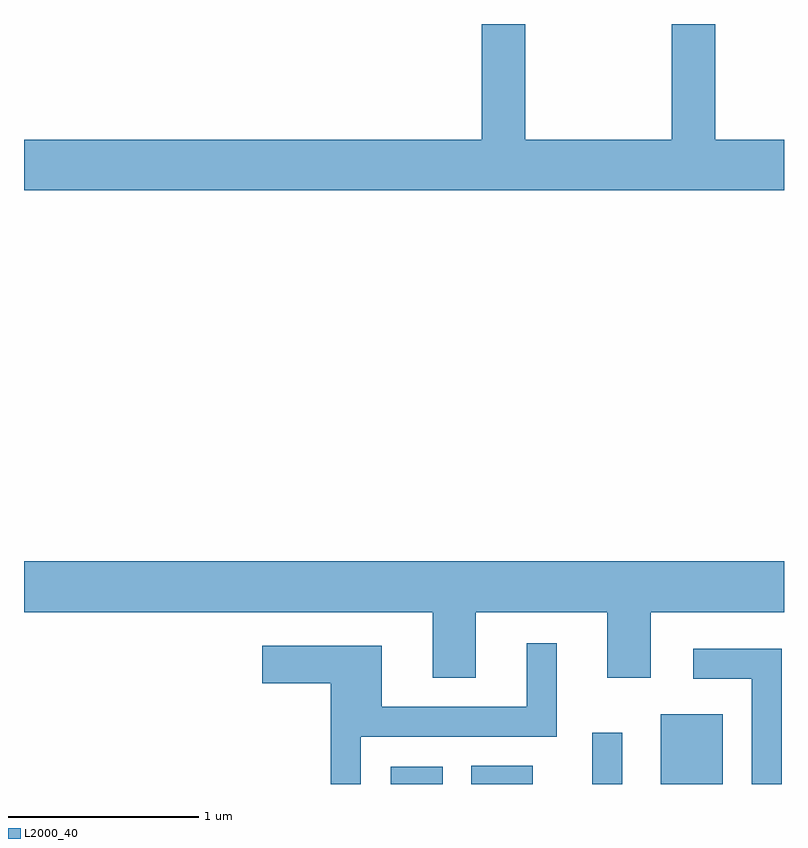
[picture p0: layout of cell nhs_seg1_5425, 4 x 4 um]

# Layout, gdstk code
import gdstk
lib = gdstk.Library(unit=1e-6, precision=1e-09)
def R(c, l, rs):  # rectangles x0, y0, x1, y1
    for r in rs: c.add(gdstk.rectangle(r[:2], r[2:], *l))
def P(c, l, *ps):  # polygons
    for p in ps: c.add(gdstk.Polygon(p, *l))
L2000_40 = (2000, 40)

nhs_seg1_5425 = lib.new_cell('nhs_seg1_5425')
R(nhs_seg1_5425, L2000_40, [(349.541,969.712,349.814,969.804), (349.966,969.712,350.289,969.809), (350.601,969.712,350.759,969.983), (350.961,969.712,351.289,970.079)])
P(nhs_seg1_5425, L2000_40, [(351.611,973.104),(351.249,973.104),(351.249,973.712),(351.021,973.712),(351.021,973.104),(350.249,973.104),(350.249,973.712),(350.021,973.712),(350.021,973.104),(347.611,973.104),(347.611,972.836),(351.611,972.836)],
  [(349.989,970.616),(350.681,970.616),(350.681,970.271),(350.909,970.271),(350.909,970.616),(351.611,970.616),(351.611,970.884),(347.611,970.884),(347.611,970.616),(349.761,970.616),(349.761,970.271),(349.989,970.271)],
  [(349.384,969.961),(350.414,969.961),(350.414,970.453),(350.256,970.453),(350.256,970.119),(349.494,970.119),(349.494,970.439),(348.866,970.439),(348.866,970.241),(349.226,970.241),(349.226,969.712),(349.384,969.712)],
  [(351.599,970.424),(351.133,970.424),(351.133,970.266),(351.441,970.266),(351.441,969.712),(351.599,969.712)])

lib.write_gds('nhs_seg1_5425.gds')
